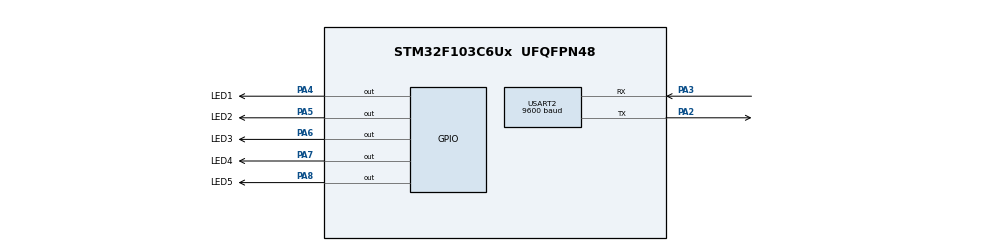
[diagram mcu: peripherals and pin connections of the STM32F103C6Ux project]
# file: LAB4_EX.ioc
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Mcu.Family=STM32F1
Mcu.Name=STM32F103C6Ux
Mcu.Package=UFQFPN48
NVIC.PriorityGroup=NVIC_PRIORITYGROUP_4
NVIC.TIM2_IRQn=true\:0\:0\:false\:false\:true\:true\:true
PA2.Mode=Asynchronous
PA2.Signal=USART2_TX
PA3.Mode=Asynchronous
PA3.Signal=USART2_RX
PA4.GPIO_Label=LED1
PA4.Signal=GPIO_Output
PA5.GPIO_Label=LED2
PA5.Signal=GPIO_Output
PA6.GPIO_Label=LED3
PA6.Signal=GPIO_Output
PA7.GPIO_Label=LED4
PA7.Signal=GPIO_Output
PA8.GPIO_Label=LED5
PA8.Signal=GPIO_Output
ProjectManager.HeapSize=0x200
ProjectManager.StackSize=0x400
ProjectManager.TargetToolchain=STM32CubeIDE
RCC.APB1Freq_Value=8000000
RCC.APB2Freq_Value=8000000
TIM2.Period=9
TIM2.Prescaler=7999
USART2.BaudRate=9600
USART2.VirtualMode=VM_ASYNC
VP_SYS_VS_ND.Mode=No_Debug
VP_TIM2_VS_ClockSourceINT.Mode=Internal
board=custom

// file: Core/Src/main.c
/* USER CODE BEGIN Header */
/**
  ******************************************************************************
  * @file           : main.c
  * @brief          : Main program body
  ******************************************************************************
  * @attention
  *
  * <h2><center>&copy; Copyright (c) 2022 STMicroelectronics.
  * All rights reserved.</center></h2>
  *
  * This software component is licensed by ST under BSD 3-Clause license,
  * the "License"; You may not use this file except in compliance with the
  * License. You may obtain a copy of the License at:
  *                        opensource.org/licenses/BSD-3-Clause
  *
  ******************************************************************************
  */
/* USER CODE END Header */
#include "main.h"

/* USER CODE BEGIN Includes */
#include "scheduler.h"
#include "toggle_led.h"
/* USER CODE END Includes */

TIM_HandleTypeDef htim2;

UART_HandleTypeDef huart2;

void SystemClock_Config(void);
static void MX_GPIO_Init(void);
static void MX_TIM2_Init(void);
static void MX_USART2_UART_Init(void);

int main(void)
{

  /* MCU Configuration--------------------------------------------------------*/

  /* Reset of all peripherals, Initializes the Flash interface and the Systick. */
  HAL_Init();

  /* Configure the system clock */
  SystemClock_Config();

  /* Initialize all configured peripherals */
  MX_GPIO_Init();
  MX_TIM2_Init();
  MX_USART2_UART_Init();
  /* USER CODE BEGIN 2 */
HAL_TIM_Base_Start_IT(&htim2);
  /* USER CODE END 2 */

  /* Infinite loop */
  /* USER CODE BEGIN WHILE */

Scheduler_Init();
HAL_GPIO_WritePin(GPIOA, LED1_Pin, RESET);
HAL_GPIO_WritePin(GPIOA, LED2_Pin, RESET);
HAL_GPIO_WritePin(GPIOA, LED3_Pin, RESET);
HAL_GPIO_WritePin(GPIOA, LED4_Pin, RESET);
HAL_GPIO_WritePin(GPIOA, LED5_Pin, RESET);

Scheduler_Add_Task(toggle_led1, 100, 1000);
Scheduler_Add_Task(toggle_led2, 200, 1500);
Scheduler_Add_Task(toggle_led3, 300, 2000);
Scheduler_Add_Task(toggle_led4, 400, 2500);
Scheduler_Add_Task(toggle_led5,1000, 0);

 while (1)
 {
	  Scheduler_Dispatch_Task();

	 if(order != 0)  {
		 HAL_UART_Transmit(&huart2, (void*)str, strlen(str), 100);
		 order = 0;
	 }

    /* USER CODE END WHILE */

  }
}

void SystemClock_Config(void)
{
  RCC_OscInitTypeDef RCC_OscInitStruct = {0};
  RCC_ClkInitTypeDef RCC_ClkInitStruct = {0};

  /** Initializes the RCC Oscillators according to the specified parameters
  * in the RCC_OscInitTypeDef structure.
  */
  RCC_OscInitStruct.OscillatorType = RCC_OSCILLATORTYPE_HSI;
  RCC_OscInitStruct.HSIState = RCC_HSI_ON;
  RCC_OscInitStruct.HSICalibrationValue = RCC_HSICALIBRATION_DEFAULT;
  RCC_OscInitStruct.PLL.PLLState = RCC_PLL_NONE;
  if (HAL_RCC_OscConfig(&RCC_OscInitStruct) != HAL_OK)
  {
    Error_Handler();
  }
  /** Initializes the CPU, AHB and APB buses clocks
  */
  RCC_ClkInitStruct.ClockType = RCC_CLOCKTYPE_HCLK|RCC_CLOCKTYPE_SYSCLK
                              |RCC_CLOCKTYPE_PCLK1|RCC_CLOCKTYPE_PCLK2;
  RCC_ClkInitStruct.SYSCLKSource = RCC_SYSCLKSOURCE_HSI;
  RCC_ClkInitStruct.AHBCLKDivider = RCC_SYSCLK_DIV1;
  RCC_ClkInitStruct.APB1CLKDivider = RCC_HCLK_DIV1;
  RCC_ClkInitStruct.APB2CLKDivider = RCC_HCLK_DIV1;

  if (HAL_RCC_ClockConfig(&RCC_ClkInitStruct, FLASH_LATENCY_0) != HAL_OK)
  {
    Error_Handler();
  }
}

static void MX_TIM2_Init(void)
{

  TIM_ClockConfigTypeDef sClockSourceConfig = {0};
  TIM_MasterConfigTypeDef sMasterConfig = {0};

  htim2.Instance = TIM2;
  htim2.Init.Prescaler = 7999;
  htim2.Init.CounterMode = TIM_COUNTERMODE_UP;
  htim2.Init.Period = 9;
  htim2.Init.ClockDivision = TIM_CLOCKDIVISION_DIV1;
  htim2.Init.AutoReloadPreload = TIM_AUTORELOAD_PRELOAD_DISABLE;
  if (HAL_TIM_Base_Init(&htim2) != HAL_OK)
  {
    Error_Handler();
  }
  sClockSourceConfig.ClockSource = TIM_CLOCKSOURCE_INTERNAL;
  if (HAL_TIM_ConfigClockSource(&htim2, &sClockSourceConfig) != HAL_OK)
  {
    Error_Handler();
  }
  sMasterConfig.MasterOutputTrigger = TIM_TRGO_RESET;
  sMasterConfig.MasterSlaveMode = TIM_MASTERSLAVEMODE_DISABLE;
  if (HAL_TIMEx_MasterConfigSynchronization(&htim2, &sMasterConfig) != HAL_OK)
  {
    Error_Handler();
  }

}

static void MX_USART2_UART_Init(void)
{

  huart2.Instance = USART2;
  huart2.Init.BaudRate = 9600;
  huart2.Init.WordLength = UART_WORDLENGTH_8B;
  huart2.Init.StopBits = UART_STOPBITS_1;
  huart2.Init.Parity = UART_PARITY_NONE;
  huart2.Init.Mode = UART_MODE_TX_RX;
  huart2.Init.HwFlowCtl = UART_HWCONTROL_NONE;
  huart2.Init.OverSampling = UART_OVERSAMPLING_16;
  if (HAL_UART_Init(&huart2) != HAL_OK)
  {
    Error_Handler();
  }

}

static void MX_GPIO_Init(void)
{
  GPIO_InitTypeDef GPIO_InitStruct = {0};

  /* GPIO Ports Clock Enable */
  __HAL_RCC_GPIOA_CLK_ENABLE();

  /*Configure GPIO pin Output Level */
  HAL_GPIO_WritePin(GPIOA, LED1_Pin|LED2_Pin|LED3_Pin|LED4_Pin
                          |LED5_Pin, GPIO_PIN_RESET);

  /*Configure GPIO pins : LED1_Pin LED2_Pin LED3_Pin LED4_Pin
                           LED5_Pin */
  GPIO_InitStruct.Pin = LED1_Pin|LED2_Pin|LED3_Pin|LED4_Pin
                          |LED5_Pin;
  GPIO_InitStruct.Mode = GPIO_MODE_OUTPUT_PP;
  GPIO_InitStruct.Pull = GPIO_NOPULL;
  GPIO_InitStruct.Speed = GPIO_SPEED_FREQ_LOW;
  HAL_GPIO_Init(GPIOA, &GPIO_InitStruct);

}

/* USER CODE BEGIN 4 */

void HAL_TIM_PeriodElapsedCallback(TIM_HandleTypeDef *htim){
	Scheduler_Update();
	counter += 10;
}

/* USER CODE END 4 */

void Error_Handler(void)
{
  __disable_irq();
  while (1)
  {
  }
}

/************************ (C) COPYRIGHT STMicroelectronics *****END OF FILE****/
